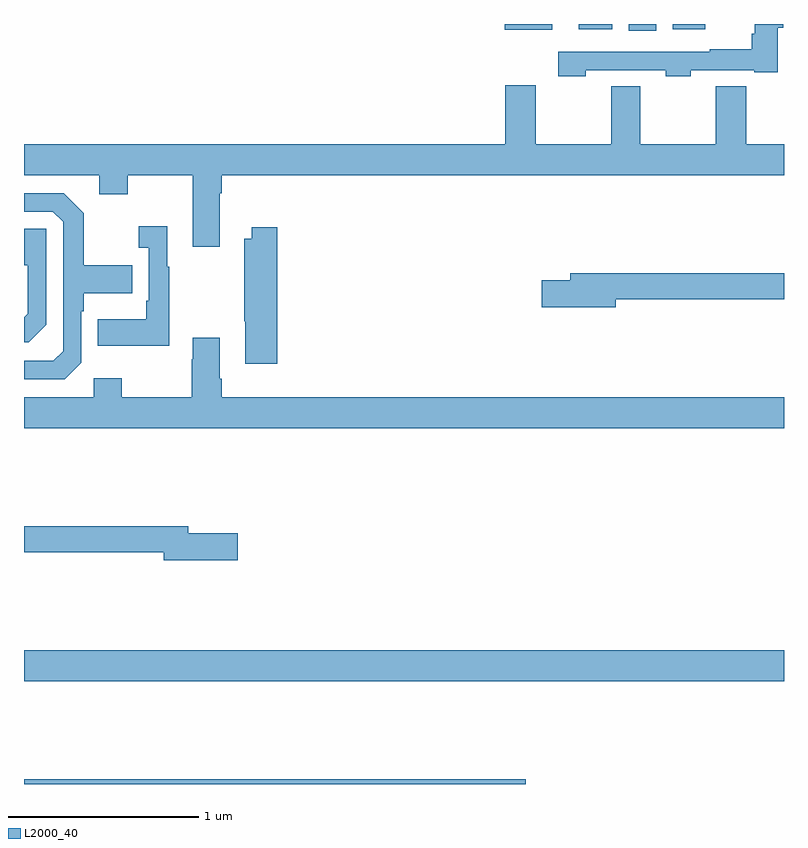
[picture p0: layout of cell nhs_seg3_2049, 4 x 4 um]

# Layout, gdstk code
import gdstk
lib = gdstk.Library(unit=1e-6, precision=1e-09)
def R(c, l, rs):  # rectangles x0, y0, x1, y1
    for r in rs: c.add(gdstk.rectangle(r[:2], r[2:], *l))
def P(c, l, *ps):  # polygons
    for p in ps: c.add(gdstk.Polygon(p, *l))
L2000_40 = (2000, 40)

nhs_seg3_2049 = lib.new_cell('nhs_seg3_2049')
R(nhs_seg3_2049, L2000_40, [(217,676.4,219.64,676.424), (217,676.94,221,677.104), (220.184,680.364,220.327,680.4), (219.53,680.369,219.781,680.4), (219.92,680.372,220.096,680.4), (220.415,680.372,220.585,680.4)])
P(nhs_seg3_2049, L2000_40, [(219.957,680.157),(220.377,680.157),(220.377,680.125),(220.509,680.125),(220.509,680.157),(220.844,680.157),(220.844,680.145),(220.967,680.145),(220.967,680.381),(220.997,680.381),(220.997,680.4),(220.846,680.4),(220.846,680.35),(220.831,680.35),(220.831,680.266),(220.609,680.266),(220.609,680.253),(219.813,680.253),(219.813,680.125),(219.957,680.125)],
  [(218.029,679.508),(218.042,679.508),(218.042,679.604),(221,679.604),(221,679.768),(220.802,679.768),(220.802,680.072),(220.642,680.072),(220.642,679.768),(220.244,679.768),(220.244,680.072),(220.09,680.072),(220.09,679.768),(219.693,679.768),(219.693,680.077),(219.533,680.077),(219.533,679.768),(217,679.768),(217,679.604),(217.397,679.604),(217.397,679.505),(217.545,679.505),(217.545,679.604),(217.889,679.604),(217.889,679.227),(218.029,679.227)],
  [(217.302,678.618),(217.302,678.887),(217.315,678.887),(217.315,678.983),(217.571,678.983),(217.571,679.131),(217.315,679.131),(217.315,679.403),(217.209,679.509),(217,679.509),(217,679.413),(217.152,679.413),(217.206,679.359),(217.206,678.678),(217.155,678.627),(217,678.627),(217,678.531),(217.215,678.531)],
  [(217.765,679.123),(217.753,679.123),(217.753,679.336),(217.605,679.336),(217.605,679.223),(217.656,679.223),(217.656,678.943),(217.644,678.943),(217.644,678.847),(217.387,678.847),(217.387,678.707),(217.765,678.707)],
  [(218.333,679.33),(218.198,679.33),(218.198,679.27),(218.158,679.27),(218.158,678.835),(218.165,678.835),(218.165,678.612),(218.333,678.612)],
  [(217.116,678.816),(217.116,679.323),(217,679.323),(217,679.13),(217.02,679.13),(217.02,678.876),(217,678.856),(217,678.726),(217.026,678.726)],
  [(220.114,678.952),(221,678.952),(221,679.088),(219.875,679.088),(219.875,679.052),(219.726,679.052),(219.726,678.91),(220.114,678.91)],
  [(221,678.436),(218.042,678.436),(218.042,678.532),(218.029,678.532),(218.029,678.748),(217.889,678.748),(217.889,678.635),(217.882,678.635),(217.882,678.436),(217.515,678.436),(217.515,678.535),(217.368,678.535),(217.368,678.436),(217,678.436),(217,678.272),(221,678.272)],
  [(218.125,677.72),(217.864,677.72),(217.864,677.756),(217,677.756),(217,677.62),(217.736,677.62),(217.736,677.578),(218.125,677.578)])

lib.write_gds('nhs_seg3_2049.gds')
